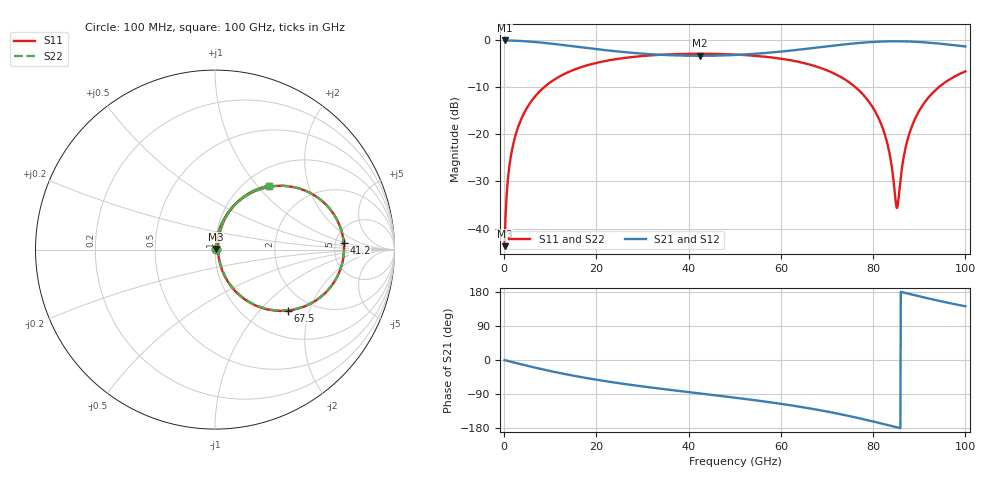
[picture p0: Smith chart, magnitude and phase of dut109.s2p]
! Touchstone file exported from HFSS 2026.1.0
!  File:  C:/ffzhzh/LocalFiles/Ansys_Project_Files/temp_train_RDL_109_1783499263_9504.aedt
!  Generated:  04:29:05 PM Jul  8, 2026
!  Design:  RDL
!  Project:  temp_train_RDL_109_1783499263_9504
! Variables:
!  h_bsmrdl = 2um
!  h_ox = 20um
!  h_rdl = 5um
!  h_sub = 80um
!  h_tmrdl = 3.57um
!  h_tsv = 80um
!  h_via = 3um
!  l_bsmrdl = 300um
!  l_sub = 1093.2um
!  l_tmrdl = 693.2um
!  m_sub = 200um
!  pitch = 59.79um
!  r_tsv = 6um
!  s_tmrdl = 10um
!  w_bsmrdl = 18um
!  w_sub = 500um
!  w_tmrdl = 13.92um
!  x_tsv_center1 = 700.16um
!  x_tsv_center2 = 1018.16um
!  x_tsv_center3 = 1725.28um
!  x_tsv_center4 = 2043.28um
!  x_tsv_center5 = 2750.4um
!  x_tsv_center6 = 3068.4um
# GHz S MA R 50.000000
! Terminal data exported
! Port[1] = TM_RDL1_1_T1
! Port[2] = TM_RDL1_1_T2
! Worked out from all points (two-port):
!   1000 points, 100 MHz to 100 GHz, reference 50 ohm
!   highest |S21| = -0.04 dB at 100 MHz (marker M1); lowest = -3.3 dB at 42.4 GHz (marker M2)
!   |S21| within 3 dB of the highest: start of sweep to 33.06 GHz; 51.75 GHz to end of sweep
!   lowest |S11| = -43.8 dB at 100 MHz (marker M3), VSWR 1.01, Z = 50.5 + j0.418 ohm
!   |S11| at or under -10 dB: start of sweep to 8.644 GHz; 76.19 GHz to 94.21 GHz (18.01 GHz wide, 21.1 % of centre)
!   |S22| runs from -43.8 to -2.9 dB; largest |S21 - S12| = 1.7e-14
!   S11 on the Smith chart (normalised r, x): 100 MHz: 1.01, +0.01; 41.2 GHz: 5.98, +0.86; 67.5 GHz: 1.54, -1.45; 100 GHz: 1.28, +1.16
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0.1  0.006492 39.6  0.995 -0.3  0.995 -0.3  0.006492 39.6
! Gamma 0 0 0 0
! Port Impedance 50 0 50 0
0.9  0.03678 78.2  0.9936 -2.8  0.9936 -2.8  0.03678 78.2
1.5  0.0603 79.6  0.9921 -4.7  0.9921 -4.7  0.0603 79.6
2.6  0.1032 78.3  0.9881 -8.0  0.9881 -8.0  0.1032 78.3
4.1  0.1602 74.7  0.9796 -12.6  0.9796 -12.6  0.1602 74.8
9  0.3272 61.6  0.9342 -26.5  0.9342 -26.5  0.3272 61.6
16.8  0.5196 43.1  0.8411 -45.4  0.8411 -45.4  0.5196 43.2
33.4  0.6989 14.0  0.7029 -75.0  0.7029 -75.0  0.6988 14.1
41.2  0.7185 2.8  0.6838 -86.5  0.6838 -86.5  0.7185 2.9
42.4  0.7189 1.1  0.6835 -88.2  0.6835 -88.2  0.7189 1.2
50.1  0.7048 -9.9  0.6976 -99.5  0.6976 -99.5  0.7048 -9.8
66.7  0.5439 -38.3  0.8237 -128.7  0.8237 -128.7  0.5438 -38.0
67.5  0.5294 -39.9  0.8326 -130.4  0.8326 -130.4  0.5294 -39.6
78.1  0.2555 -64.1  0.9456 -156.9  0.9456 -156.9  0.2555 -63.6
81.3  0.1445 -70.4  0.9667 -166.1  0.9667 -166.1  0.1446 -69.6
83.4  0.06814 -69.1  0.9739 -172.3  0.9739 -172.3  0.06845 -67.6
84.8  0.02131 -36.7  0.9755 -176.5  0.9755 -176.5  0.02252 -33.7
85.2  0.01652 6.9  0.9754 -177.7  0.9754 -177.7  0.01814 6.9
87.2  0.0782 73.5  0.9718 176.3  0.9718 176.3  0.07866 72.6
89.7  0.1682 72.8  0.9601 168.9  0.9601 168.9  0.1685 72.5
94  0.31 63.5  0.9247 156.9  0.9247 156.9  0.3102 63.4
100  0.4668 49.6  0.8587 141.8  0.8587 141.8  0.467 49.7
